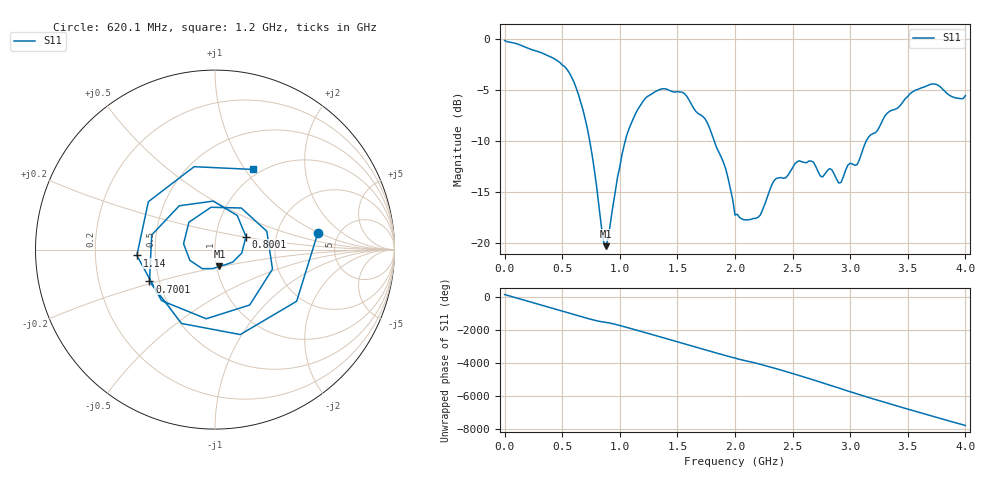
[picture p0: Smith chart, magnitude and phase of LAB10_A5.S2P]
!Agilent Technologies,E5071C,MY46101918,A.08.10
!Date: Mon Jan 01 00:04:14 2001
!Data & Calibration Information:
!Freq	S11:NONE(--)	S21:NONE(--)	S12:NONE(--)	S22:NONE(--)
# Hz S dB R 50
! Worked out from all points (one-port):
!   201 points, 100 kHz to 4 GHz, reference 50 ohm
!   lowest |S11| = -20.3 dB at 880.1 MHz (marker M1), VSWR 1.21, Z = 51.6 - j9.76 ohm
!   |S11| at or under -10 dB: 739.5 MHz to 1.047 GHz (307 MHz wide, 34.4 % of centre); 1.82 GHz to 3.138 GHz (1.318 GHz wide, 53.2 % of centre)
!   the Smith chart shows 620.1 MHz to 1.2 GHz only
!   S11 on the Smith chart (normalised r, x): 620.1 MHz: 3.47, +0.97; 700.1 MHz: 0.44, -0.19; 800.1 MHz: 1.40, +0.21; 1.14 GHz: 0.39, -0.03; 1.2 GHz: 0.92, +1.09
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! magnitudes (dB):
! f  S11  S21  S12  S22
! 100 kHz  -0.1  -  -  -
! 460.1 MHz  -2.1  -  -  -
! 620.1 MHz  -4.7  -  -  -
! 680.1 MHz  -6.9  -  -  -
! 700.1 MHz  -7.8  -  -  -
! 800.1 MHz  -14.6  -  -  -
! 880.1 MHz  -20.3  -  -  -
! 1.02 GHz  -11.2  -  -  -
! 1.14 GHz  -7.2  -  -  -
! 1.2 GHz  -6.1  -  -  -
! 1.34 GHz  -5.0  -  -  -
! 1.56 GHz  -5.3  -  -  -
! 1.74 GHz  -7.8  -  -  -
! 1.92 GHz  -12.7  -  -  -
! 2 GHz  -17.2  -  -  -
! 2.2 GHz  -17.4  -  -  -
! 2.34 GHz  -13.8  -  -  -
! 2.68 GHz  -12.0  -  -  -
! 2.92 GHz  -14.0  -  -  -
! 3.34 GHz  -7.1  -  -  -
! 3.7 GHz  -4.4  -  -  -
! 4 GHz  -5.5  -  -  -
